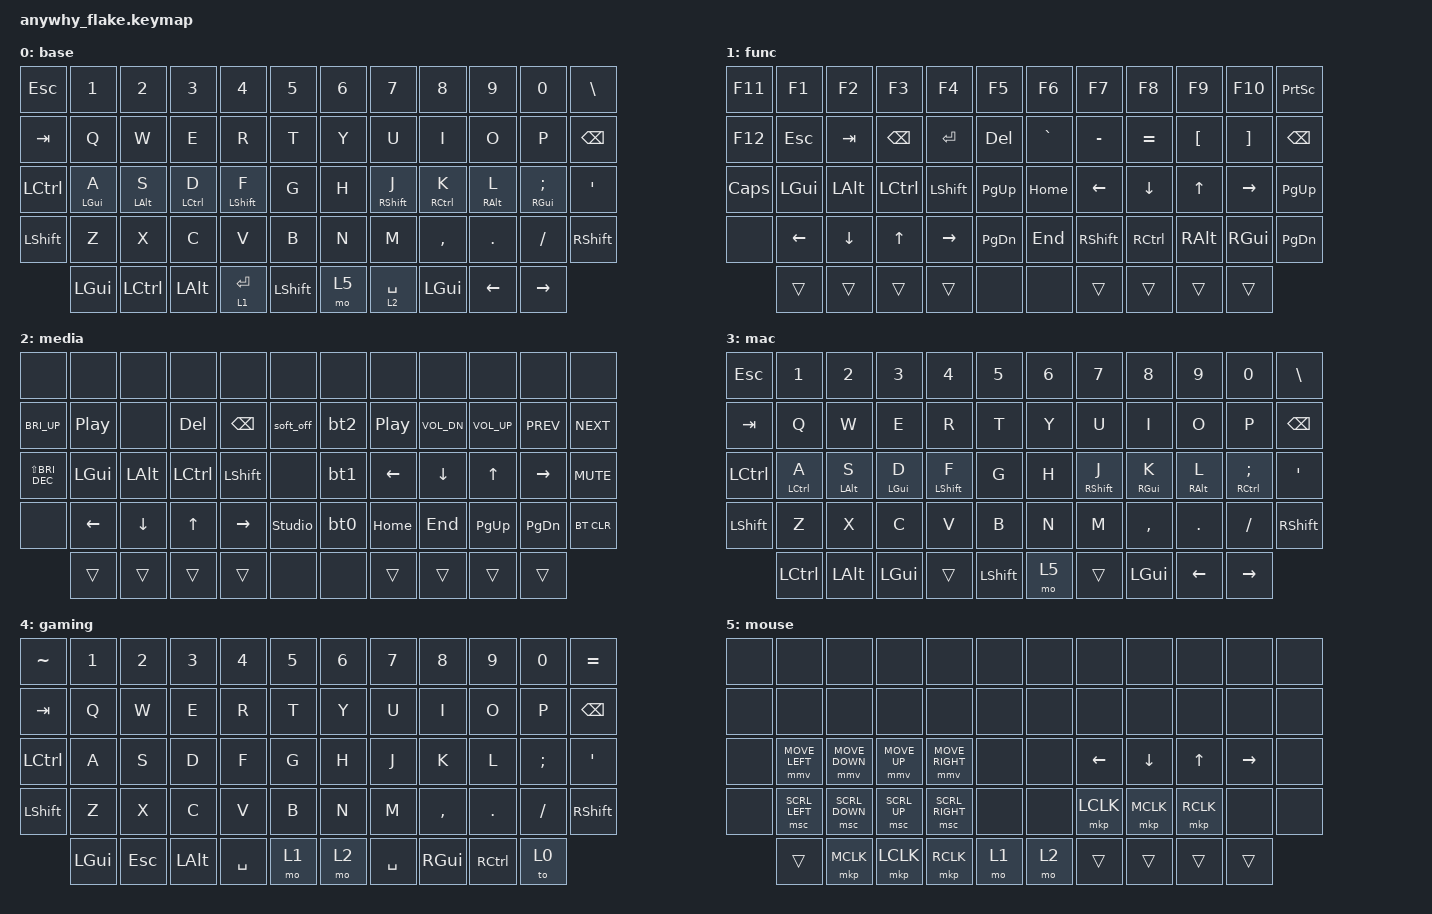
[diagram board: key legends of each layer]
#include <behaviors.dtsi>
#include <dt-bindings/zmk/bt.h>
#include <dt-bindings/zmk/keys.h>
#include <dt-bindings/zmk/pointing.h>

/ {
    combos {
        compatible = "zmk,combos";

        bt_sel_3 {
            bindings = <&bt3>;
            key-positions = <42 30>;
            layers = <2>;
        };

        bt_sel_4 {
            bindings = <&bt4>;
            key-positions = <30 18>;
            layers = <2>;
        };

        Combo_Enter {
            bindings = <&kp ENTER>;
            key-positions = <32 33>;
            timeout-ms = <35>;
            require-prior-idle-ms = <125>;
        };

        Combo_Del {
            bindings = <&kp DELETE>;
            key-positions = <43 44>;
            timeout-ms = <35>;
            require-prior-idle-ms = <125>;
        };

        Combo_Esc {
            bindings = <&kp ESCAPE>;
            key-positions = <37 38>;
            timeout-ms = <35>;
            require-prior-idle-ms = <125>;
        };

        Combo_Down {
            bindings = <&kp DOWN>;
            key-positions = <57 56>;
            timeout-ms = <30>;
            require-prior-idle-ms = <125>;
        };

        Combo_Up {
            bindings = <&kp UP_ARROW>;
            key-positions = <45 44>;
            timeout-ms = <30>;
            require-prior-idle-ms = <125>;
        };

        Enter_Mac {
            bindings = <&tog 3>;
            key-positions = <43 32 45>;
            timeout-ms = <30>;
            require-prior-idle-ms = <125>;
        };

        Combo_Home {
            bindings = <&kp HOME>;
            key-positions = <30 31>;
        };

        Combo_End {
            bindings = <&kp END>;
            key-positions = <42 43>;
        };

        Combo_PgUp {
            bindings = <&kp PAGE_UP>;
            key-positions = <29 28>;
        };

        Combo_PgDn {
            bindings = <&kp PAGE_DOWN>;
            key-positions = <41 40>;
        };

        Combo_Backspace {
            bindings = <&kp BACKSPACE>;
            key-positions = <31 32>;
        };

        Combo_Tab {
            bindings = <&kp TAB>;
            key-positions = <38 39>;
        };

        Enter_Mouse {
            bindings = <&tog 5>;
            key-positions = <15 28 26>;
        };
    };

    macros {
        bt_clr_0: bt_clr_0 {
            compatible = "zmk,behavior-macro";
            #binding-cells = <0>;
            bindings = <&bt BT_SEL 0 &bt BT_CLR>;
            label = "BT_CLR_0";
        };

        bt_clr_1: bt_clr_1 {
            compatible = "zmk,behavior-macro";
            #binding-cells = <0>;
            bindings = <&bt BT_SEL 1 &bt BT_CLR>;
            label = "BT_CLR_1";
        };

        bt_clr_2: bt_clr_2 {
            compatible = "zmk,behavior-macro";
            #binding-cells = <0>;
            bindings = <&bt BT_SEL 2 &bt BT_CLR>;
            label = "BT_CLR_2";
        };

        bt_clr_3: bt_clr_3 {
            compatible = "zmk,behavior-macro";
            #binding-cells = <0>;
            bindings = <&bt BT_SEL 3 &bt BT_CLR>;
            label = "BT_CLR_3";
        };

        bt_clr_4: bt_clr_4 {
            compatible = "zmk,behavior-macro";
            #binding-cells = <0>;
            bindings = <&bt BT_SEL 4 &bt BT_CLR>;
            label = "BT_CLR_4";
        };
    };

    behaviors {
        bt0: bt0 {
            compatible = "zmk,behavior-mod-morph";
            label = "BT0";
            bindings = <&bt BT_SEL 0>, <&bt_clr_0>;

            #binding-cells = <0>;
            mods = <(MOD_LSFT|MOD_RSFT)>;
        };

        bt1: bt1 {
            compatible = "zmk,behavior-mod-morph";
            label = "BT1";
            bindings = <&bt BT_SEL 1>, <&bt_clr_1>;

            #binding-cells = <0>;
            mods = <(MOD_LSFT|MOD_RSFT)>;
        };

        bt2: bt2 {
            compatible = "zmk,behavior-mod-morph";
            label = "BT2";
            bindings = <&bt BT_SEL 2>, <&bt_clr_2>;

            #binding-cells = <0>;
            mods = <(MOD_LSFT|MOD_RSFT)>;
        };

        bt3: bt3 {
            compatible = "zmk,behavior-mod-morph";
            label = "BT3";
            bindings = <&bt BT_SEL 3>, <&bt_clr_3>;

            #binding-cells = <0>;
            mods = <(MOD_LSFT|MOD_RSFT)>;
        };

        bt4: bt4 {
            compatible = "zmk,behavior-mod-morph";
            label = "BT4";
            bindings = <&bt BT_SEL 4>, <&bt_clr_4>;

            #binding-cells = <0>;
            mods = <(MOD_LSFT|MOD_RSFT)>;
        };

        HMR: HMR {
            compatible = "zmk,behavior-hold-tap";
            label = "HMR";
            bindings = <&kp>, <&kp>;

            #binding-cells = <2>;
            tapping-term-ms = <280>;
            quick-tap-ms = <175>;
            flavor = "tap-preferred";
            hold-trigger-on-release;
            hold-trigger-key-positions = <0 1 2 3 4 5 12 13 14 15 16 17 24 25 36 37 48 26 27 39 38 49 40 28 29 41 50 51 52 53 54 55 56 57>;
        };

        HML: HML {
            compatible = "zmk,behavior-hold-tap";
            label = "HML";
            bindings = <&kp>, <&kp>;

            #binding-cells = <2>;
            tapping-term-ms = <280>;
            quick-tap-ms = <175>;
            flavor = "tap-preferred";
            hold-trigger-key-positions = <6 7 8 9 10 11 23 35 47 46 34 22 21 33 45 56 57 55 54 53 42 43 44 32 20 19 31 30 18 52 51 50 49 48>;
            hold-trigger-on-release;
        };
    };

    keymap {
        compatible = "zmk,keymap";

        base {
            bindings = <
&kp ESC    &kp N1           &kp N2            &kp N3               &kp N4             &kp N5            &kp N6  &kp N7              &kp N8                &kp N9            &kp N0               &kp BACKSLASH
&kp TAB    &kp Q            &kp W             &kp E                &kp R              &kp T             &kp Y   &kp U               &kp I                 &kp O             &kp P                &kp BACKSPACE
&kp LCTRL  &HML LEFT_GUI A  &HML LEFT_ALT S   &HML LEFT_CONTROL D  &HML LEFT_SHIFT F  &kp G             &kp H   &HMR RIGHT_SHIFT J  &HMR RIGHT_CONTROL K  &HMR RIGHT_ALT L  &HMR RIGHT_GUI SEMI  &kp APOS
&kp LSHFT  &kp Z            &kp X             &kp C                &kp V              &kp B             &kp N   &kp M               &kp COMMA             &kp PERIOD        &kp FSLH             &kp RSHFT
           &kp LGUI         &kp LEFT_CONTROL  &kp LEFT_ALT         &lt 1 ENTER        &kp LEFT_SHIFT    &mo 5   &lt 2 SPACE         &kp LGUI              &kp LEFT          &kp RIGHT
            >;
        };

        func {
            bindings = <
&kp F11       &kp F1        &kp F2        &kp F3            &kp F4          &kp F5           &kp F6     &kp F7           &kp F8             &kp F9            &kp F10            &kp PRINTSCREEN
&kp F12       &kp ESCAPE    &kp TAB       &kp BACKSPACE     &kp ENTER       &kp DEL          &kp GRAVE  &kp MINUS        &kp EQUAL          &kp LEFT_BRACKET  &kp RIGHT_BRACKET  &kp BACKSPACE
&kp CAPSLOCK  &kp LEFT_GUI  &kp LEFT_ALT  &kp LEFT_CONTROL  &kp LEFT_SHIFT  &kp PAGE_UP      &kp HOME   &kp LEFT         &kp DOWN           &kp UP_ARROW      &kp RIGHT          &kp PAGE_UP
&none         &kp LEFT      &kp DOWN      &kp UP_ARROW      &kp RIGHT       &kp PAGE_DOWN    &kp END    &kp RIGHT_SHIFT  &kp RIGHT_CONTROL  &kp RIGHT_ALT     &kp RIGHT_GUI      &kp PAGE_DOWN
              &trans        &trans        &trans            &trans          &none            &none      &trans           &trans             &trans            &trans
            >;
        };

        media {
            bindings = <
&none              &none             &none         &none             &none           &none             &none  &none     &none         &none         &none          &none
&kp C_BRI_UP       &kp C_PLAY_PAUSE  &none         &kp DEL           &kp BACKSPACE   &soft_off         &bt2   &kp C_PP  &kp C_VOL_DN  &kp C_VOL_UP  &kp C_PREV     &kp C_NEXT
&kp LS(C_BRI_DEC)  &kp LEFT_GUI      &kp LEFT_ALT  &kp LEFT_CONTROL  &kp LEFT_SHIFT  &none             &bt1   &kp LEFT  &kp DOWN      &kp UP        &kp RIGHT      &kp C_MUTE
&none              &kp LEFT          &kp DOWN      &kp UP_ARROW      &kp RIGHT       &studio_unlock    &bt0   &kp HOME  &kp END       &kp PG_UP     &kp PAGE_DOWN  &bt BT_CLR
                   &trans            &trans        &trans            &trans          &none             &none  &trans    &trans        &trans        &trans
            >;
        };

        mac {
            bindings = <
&kp ESC    &kp N1               &kp N2           &kp N3           &kp N4             &kp N5            &kp N6  &kp N7              &kp N8            &kp N9            &kp N0                   &kp BACKSLASH
&kp TAB    &kp Q                &kp W            &kp E            &kp R              &kp T             &kp Y   &kp U               &kp I             &kp O             &kp P                    &kp BACKSPACE
&kp LCTRL  &HML LEFT_CONTROL A  &HML LEFT_ALT S  &HML LEFT_GUI D  &HML LEFT_SHIFT F  &kp G             &kp H   &HMR RIGHT_SHIFT J  &HMR RIGHT_GUI K  &HMR RIGHT_ALT L  &HMR RIGHT_CONTROL SEMI  &kp APOS
&kp LSHFT  &kp Z                &kp X            &kp C            &kp V              &kp B             &kp N   &kp M               &kp COMMA         &kp PERIOD        &kp FSLH                 &kp RSHFT
           &kp LEFT_CONTROL     &kp LEFT_ALT     &kp LEFT_GUI     &trans             &kp LEFT_SHIFT    &mo 5   &trans              &kp LGUI          &kp LEFT          &kp RIGHT
            >;
        };

        gaming {
            bindings = <
&kp TILDE  &kp NUMBER_1  &kp NUMBER_2  &kp NUMBER_3  &kp NUMBER_4  &kp NUMBER_5    &kp NUMBER_6  &kp NUMBER_7  &kp NUMBER_8   &kp NUMBER_9       &kp NUMBER_0   &kp EQUAL
&kp TAB    &kp Q         &kp W         &kp E         &kp R         &kp T           &kp Y         &kp U         &kp I          &kp O              &kp P          &kp BSPC
&kp LCTRL  &kp A         &kp S         &kp D         &kp F         &kp G           &kp H         &kp J         &kp K          &kp L              &kp SEMICOLON  &kp APOS
&kp LSHFT  &kp Z         &kp X         &kp C         &kp V         &kp B           &kp N         &kp M         &kp COMMA      &kp PERIOD         &kp SLASH      &kp RSHFT
           &kp LEFT_GUI  &kp ESCAPE    &kp LEFT_ALT  &kp SPACE     &mo 1           &mo 2         &kp SPACE     &kp RIGHT_GUI  &kp RIGHT_CONTROL  &to 0
            >;
        };

        mouse {
            bindings = <
&none  &none           &none           &none         &none            &none    &none  &none      &none      &none         &none      &none
&none  &none           &none           &none         &none            &none    &none  &none      &none      &none         &none      &none
&none  &mmv MOVE_LEFT  &mmv MOVE_DOWN  &mmv MOVE_UP  &mmv MOVE_RIGHT  &none    &none  &kp LEFT   &kp DOWN   &kp UP_ARROW  &kp RIGHT  &none
&none  &msc SCRL_LEFT  &msc SCRL_DOWN  &msc SCRL_UP  &msc SCRL_RIGHT  &none    &none  &mkp LCLK  &mkp MCLK  &mkp RCLK     &none      &none
       &trans          &mkp MCLK       &mkp LCLK     &mkp RCLK        &mo 1    &mo 2  &trans     &trans     &trans        &trans
            >;
        };
    };
};
